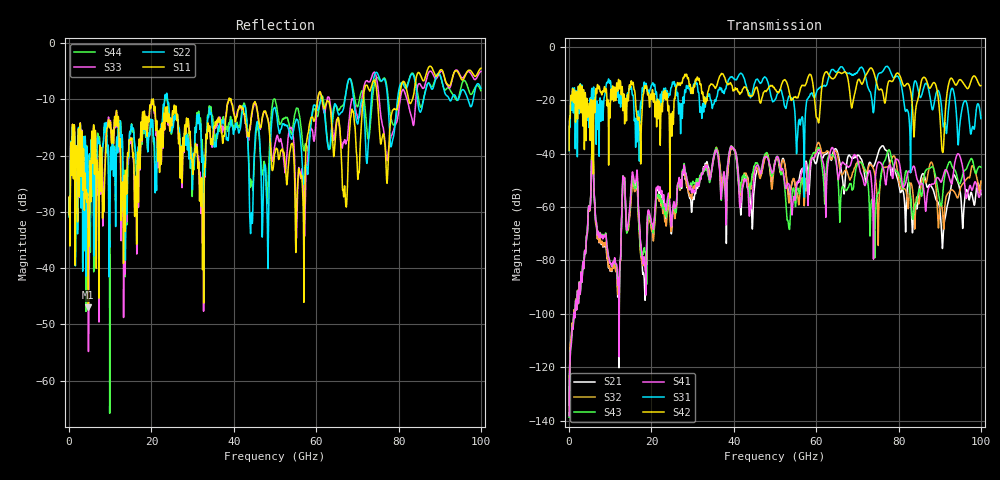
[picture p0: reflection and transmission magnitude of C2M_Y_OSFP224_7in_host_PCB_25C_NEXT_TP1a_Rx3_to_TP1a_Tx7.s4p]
# GHz S RI R 45
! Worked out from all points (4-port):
!   4000 points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, 25 MHz to 100 GHz, reference 45 ohm
!   strongest paths, dB at 25 MHz, 25.02 GHz, 50.02 GHz, 75.03 GHz, 100 GHz:
!     S42: -38.8, -30.3, -16.0, -15.6, -14.6
!     S31: -39.0, -13.8, -19.8, -10.6, -26.9
!     S41: -138.3, -63.5, -43.7, -43.4, -53.8
!     S43: -138.8, -63.1, -43.1, -54.7, -45.1
!     S32: -134.4, -64.8, -43.1, -70.4, -50.3
!     S21: -134.3, -65.6, -42.9, -39.9, -55.4
!   lowest |S11| = -47.0 dB at 4.7 GHz (marker M1), VSWR 1.01, Z = 44.8 + j0.331 ohm
!   |S11| at or under -10 dB: start of sweep to 20.41 GHz; 20.48 GHz to 38.79 GHz (18.32 GHz wide, 61.8 % of centre); 39.33 GHz to 60.37 GHz (21.03 GHz wide, 42.2 % of centre)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
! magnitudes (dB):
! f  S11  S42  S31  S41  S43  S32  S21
! 25 MHz  -30.6  -38.8  -39.0  -138.3  -138.8  -134.4  -134.3
! 4.7 GHz  -47.0  -24.9  -25.6  -60.8  -60.6  -61.2  -61.4
! 16.12 GHz  -24.3  -19.6  -33.2  -50.4  -52.7  -53.8  -51.5
! 18.3 GHz  -12.1  -15.3  -13.4  -79.8  -75.3  -79.0  -88.1
! 39.6 GHz  -10.9  -14.6  -11.3  -37.6  -37.5  -38.0  -38.0
! 53.27 GHz  -21.7  -15.5  -18.9  -51.2  -66.6  -57.2  -55.0
! 100 GHz  -4.5  -14.6  -26.9  -53.8  -45.1  -50.3  -55.4
